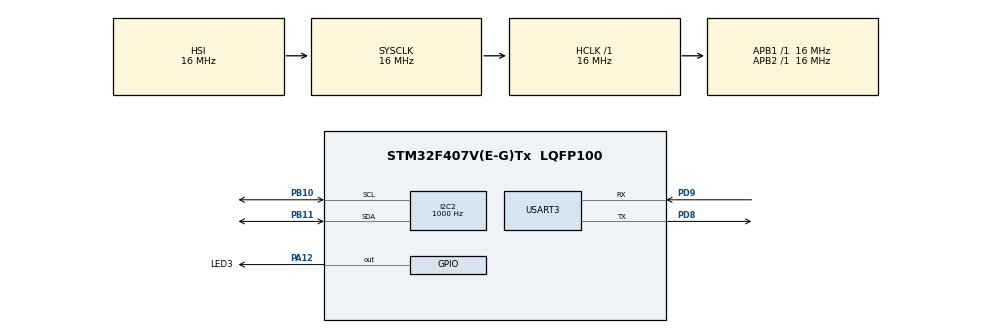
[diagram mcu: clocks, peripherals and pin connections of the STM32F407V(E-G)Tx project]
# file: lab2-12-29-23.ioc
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I2C2.ClockSpeed=1000
I2C2.I2C_Mode=I2C_Standard
Mcu.Family=STM32F4
Mcu.Name=STM32F407V(E-G)Tx
Mcu.Package=LQFP100
NVIC.PriorityGroup=NVIC_PRIORITYGROUP_4
PA12.GPIO_Label=LED3
PA12.Signal=GPIO_Output
PA13.Signal=SYS_JTMS-SWDIO
PA14.Signal=SYS_JTCK-SWCLK
PB10.Mode=I2C
PB10.Signal=I2C2_SCL
PB11.Mode=I2C
PB11.Signal=I2C2_SDA
PD8.Mode=Asynchronous
PD8.Signal=USART3_TX
PD9.Mode=Asynchronous
PD9.Signal=USART3_RX
ProjectManager.HeapSize=0x200
ProjectManager.StackSize=0x400
ProjectManager.TargetToolchain=STM32CubeIDE
RCC.AHBFreq_Value=16000000
RCC.APB1Freq_Value=16000000
RCC.APB2Freq_Value=16000000
RCC.CortexFreq_Value=16000000
RCC.HSE_VALUE=25000000
RCC.HSI_VALUE=16000000
RCC.LSE_VALUE=32768
RCC.SYSCLKFreq_VALUE=16000000
RCC.VCOOutputFreq_Value=192000000
USART3.VirtualMode=VM_ASYNC
board=custom

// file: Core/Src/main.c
/* USER CODE BEGIN Header */
/**
  ******************************************************************************
  * @file           : main.c
  * @brief          : Main program body
  ******************************************************************************
  * @attention
  *
  * Copyright (c) 2023 STMicroelectronics.
  * All rights reserved.
  *
  * This software is licensed under terms that can be found in the LICENSE file
  * in the root directory of this software component.
  * If no LICENSE file comes with this software, it is provided AS-IS.
  *
  ******************************************************************************
  */
/* USER CODE END Header */
#include "main.h"

/* USER CODE BEGIN Includes */
#include "MPU6050.h"
#include "stdio.h"
#include "math.h"
/* USER CODE END Includes */

 I2C_HandleTypeDef hi2c2;

UART_HandleTypeDef huart3;

/* USER CODE BEGIN PV */
uint8_t IMU_ADDR = 0x68<<1;
IMU_Data imu;
float pitch_acc, roll_acc;
float pitch_gyro, roll_gyro, yaw_gyro;
uint32_t millisOld, millisNow; // time value
uint32_t angleOld, angleNow;
float dt;// time elapse
/* USER CODE END PV */

void SystemClock_Config(void);
static void MX_GPIO_Init(void);
static void MX_I2C2_Init(void);
static void MX_USART3_UART_Init(void);

int main(void)
{
  /* USER CODE BEGIN 1 */
	char sbuf[10][15];
  /* USER CODE END 1 */

  /* MCU Configuration--------------------------------------------------------*/

  /* Reset of all peripherals, Initializes the Flash interface and the Systick. */
  HAL_Init();

  /* Configure the system clock */
  SystemClock_Config();

  /* Initialize all configured peripherals */
  MX_GPIO_Init();
  MX_I2C2_Init();
  MX_USART3_UART_Init();
  /* USER CODE BEGIN 2 */
  IMU_Initialise(&imu, &hi2c2, &huart3);

  /* USER CODE END 2 */

  /* Infinite loop */
  /* USER CODE BEGIN WHILE */
  while (1)
  {
	 IMU_GyroRead(&imu);
	 IMU_AccelRead(&imu);
//
//	 pitch_acc = atan2(imu.acc[0],imu.acc[2]); //pitch =arcTan(aX/aZ)
//	 pitch_acc = pitch_acc * 57.3; //change from radian to degree
//
//	 roll_acc = atan2(imu.acc[1],imu.acc[2]); //roll =arcTan(aY/aZ)
//	 roll_acc = pitch_acc * 57.3; //change from radian to degree

	 pitch_gyro = imu.gyro[0];
	 roll_gyro = imu.gyro[1];
	 yaw_gyro = imu.gyro[2];
	  millisNow = HAL_GetTick(); // get the current time
	  dt = (millisNow - millisOld)*0.001; // time elapsed in millisecond
	  millisOld = millisNow; // store the current time for next round
	  pitch_gyro = pitch_gyro + pitch_gyro * dt;
	  roll_gyro = roll_gyro + roll_gyro * dt;
	  yaw_gyro = yaw_gyro + yaw_gyro * dt;

//
	 for(int i=0;i<3;i++) {
		 sprintf(sbuf[i], "%7.2f ", imu.gyro[i]);
//		 HAL_UART_Transmit(&huart3, sbuf[i+6], 8, HAL_MAX_DELAY);
//		 sprintf(sbuf[i], "%7.2f ", imu.acc[i]);
		 HAL_UART_Transmit(&huart3, sbuf[i], 8, HAL_MAX_DELAY);

	 }
	 sprintf(sbuf[3],"%7.2f ", pitch_gyro);
	 sprintf(sbuf[4],"%7.2f ", roll_gyro);
	 sprintf(sbuf[5],"%7.2f ", yaw_gyro);
//	 HAL_UART_Transmit(&huart3, sbuf[0], 8, HAL_MAX_DELAY);
//	 HAL_UART_Transmit(&huart3, sbuf[1], 8, HAL_MAX_DELAY);
//	 HAL_UART_Transmit(&huart3, sbuf[2], 8, HAL_MAX_DELAY);
	 HAL_UART_Transmit(&huart3, sbuf[3], 8, HAL_MAX_DELAY);
	 HAL_UART_Transmit(&huart3, sbuf[4], 8, HAL_MAX_DELAY);
	 HAL_UART_Transmit(&huart3, sbuf[5], 8, HAL_MAX_DELAY);
	 HAL_UART_Transmit(&huart3, "\r\n", 2, HAL_MAX_DELAY);
    /* USER CODE END WHILE */

  }
}

void SystemClock_Config(void)
{
  RCC_OscInitTypeDef RCC_OscInitStruct = {0};
  RCC_ClkInitTypeDef RCC_ClkInitStruct = {0};

  /** Configure the main internal regulator output voltage
  */
  __HAL_RCC_PWR_CLK_ENABLE();
  __HAL_PWR_VOLTAGESCALING_CONFIG(PWR_REGULATOR_VOLTAGE_SCALE1);

  /** Initializes the RCC Oscillators according to the specified parameters
  * in the RCC_OscInitTypeDef structure.
  */
  RCC_OscInitStruct.OscillatorType = RCC_OSCILLATORTYPE_HSI;
  RCC_OscInitStruct.HSIState = RCC_HSI_ON;
  RCC_OscInitStruct.HSICalibrationValue = RCC_HSICALIBRATION_DEFAULT;
  RCC_OscInitStruct.PLL.PLLState = RCC_PLL_NONE;
  if (HAL_RCC_OscConfig(&RCC_OscInitStruct) != HAL_OK)
  {
    Error_Handler();
  }

  /** Initializes the CPU, AHB and APB buses clocks
  */
  RCC_ClkInitStruct.ClockType = RCC_CLOCKTYPE_HCLK|RCC_CLOCKTYPE_SYSCLK
                              |RCC_CLOCKTYPE_PCLK1|RCC_CLOCKTYPE_PCLK2;
  RCC_ClkInitStruct.SYSCLKSource = RCC_SYSCLKSOURCE_HSI;
  RCC_ClkInitStruct.AHBCLKDivider = RCC_SYSCLK_DIV1;
  RCC_ClkInitStruct.APB1CLKDivider = RCC_HCLK_DIV1;
  RCC_ClkInitStruct.APB2CLKDivider = RCC_HCLK_DIV1;

  if (HAL_RCC_ClockConfig(&RCC_ClkInitStruct, FLASH_LATENCY_0) != HAL_OK)
  {
    Error_Handler();
  }
}

static void MX_I2C2_Init(void)
{

  hi2c2.Instance = I2C2;
  hi2c2.Init.ClockSpeed = 1000;
  hi2c2.Init.DutyCycle = I2C_DUTYCYCLE_2;
  hi2c2.Init.OwnAddress1 = 0;
  hi2c2.Init.AddressingMode = I2C_ADDRESSINGMODE_7BIT;
  hi2c2.Init.DualAddressMode = I2C_DUALADDRESS_DISABLE;
  hi2c2.Init.OwnAddress2 = 0;
  hi2c2.Init.GeneralCallMode = I2C_GENERALCALL_DISABLE;
  hi2c2.Init.NoStretchMode = I2C_NOSTRETCH_DISABLE;
  if (HAL_I2C_Init(&hi2c2) != HAL_OK)
  {
    Error_Handler();
  }

}

static void MX_USART3_UART_Init(void)
{

  huart3.Instance = USART3;
  huart3.Init.BaudRate = 115200;
  huart3.Init.WordLength = UART_WORDLENGTH_8B;
  huart3.Init.StopBits = UART_STOPBITS_1;
  huart3.Init.Parity = UART_PARITY_NONE;
  huart3.Init.Mode = UART_MODE_TX_RX;
  huart3.Init.HwFlowCtl = UART_HWCONTROL_NONE;
  huart3.Init.OverSampling = UART_OVERSAMPLING_16;
  if (HAL_UART_Init(&huart3) != HAL_OK)
  {
    Error_Handler();
  }

}

static void MX_GPIO_Init(void)
{
  GPIO_InitTypeDef GPIO_InitStruct = {0};

  /* GPIO Ports Clock Enable */
  __HAL_RCC_GPIOB_CLK_ENABLE();
  __HAL_RCC_GPIOD_CLK_ENABLE();
  __HAL_RCC_GPIOA_CLK_ENABLE();

  /*Configure GPIO pin Output Level */
  HAL_GPIO_WritePin(LED3_GPIO_Port, LED3_Pin, GPIO_PIN_RESET);

  /*Configure GPIO pin : LED3_Pin */
  GPIO_InitStruct.Pin = LED3_Pin;
  GPIO_InitStruct.Mode = GPIO_MODE_OUTPUT_PP;
  GPIO_InitStruct.Pull = GPIO_NOPULL;
  GPIO_InitStruct.Speed = GPIO_SPEED_FREQ_LOW;
  HAL_GPIO_Init(LED3_GPIO_Port, &GPIO_InitStruct);

}

void Error_Handler(void)
{
  __disable_irq();
  while (1)
  {
  }
}
